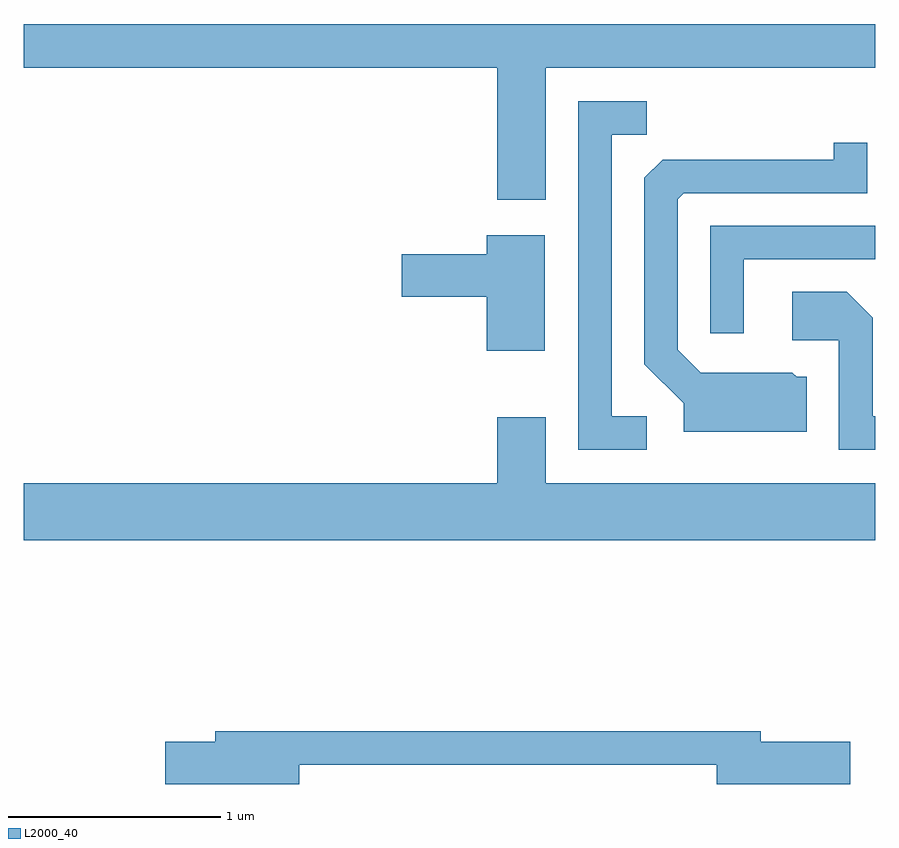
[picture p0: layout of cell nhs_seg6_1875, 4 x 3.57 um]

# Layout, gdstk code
import gdstk
lib = gdstk.Library(unit=1e-6, precision=1e-09)
def P(c, l, *ps):  # polygons
    for p in ps: c.add(gdstk.Polygon(p, *l))
L2000_40 = (2000, 40)

nhs_seg6_1875 = lib.new_cell('nhs_seg6_1875')
P(nhs_seg6_1875, L2000_40, [(244.064,1629.956),(245.611,1629.956),(245.611,1630.162),(241.611,1630.162),(241.611,1629.956),(243.836,1629.956),(243.836,1629.336),(244.064,1629.336)],
  [(244.538,1628.319),(244.374,1628.319),(244.374,1629.641),(244.538,1629.641),(244.538,1629.799),(244.216,1629.799),(244.216,1628.161),(244.538,1628.161)],
  [(245.289,1628.504),(245.242,1628.504),(245.222,1628.524),(244.792,1628.524),(244.684,1628.632),(244.684,1629.339),(244.712,1629.366),(245.574,1629.366),(245.574,1629.603),(245.416,1629.603),(245.416,1629.524),(244.612,1629.524),(244.526,1629.439),(244.526,1628.564),(244.711,1628.379),(244.711,1628.246),(245.289,1628.246)],
  [(244.994,1629.056),(245.611,1629.056),(245.611,1629.214),(244.836,1629.214),(244.836,1628.708),(244.994,1628.708)],
  [(244.059,1629.169),(243.786,1629.169),(243.786,1629.079),(243.386,1629.079),(243.386,1628.881),(243.786,1628.881),(243.786,1628.626),(244.059,1628.626)],
  [(245.611,1628.319),(245.599,1628.319),(245.599,1628.782),(245.477,1628.904),(245.221,1628.904),(245.221,1628.676),(245.441,1628.676),(245.441,1628.161),(245.611,1628.161)],
  [(245.611,1628.004),(244.064,1628.004),(244.064,1628.314),(243.836,1628.314),(243.836,1628.004),(241.611,1628.004),(241.611,1627.736),(245.611,1627.736)],
  [(242.904,1626.681),(244.866,1626.681),(244.866,1626.591),(245.494,1626.591),(245.494,1626.789),(245.074,1626.789),(245.074,1626.839),(242.511,1626.839),(242.511,1626.789),(242.276,1626.789),(242.276,1626.591),(242.904,1626.591)])

lib.write_gds('nhs_seg6_1875.gds')
